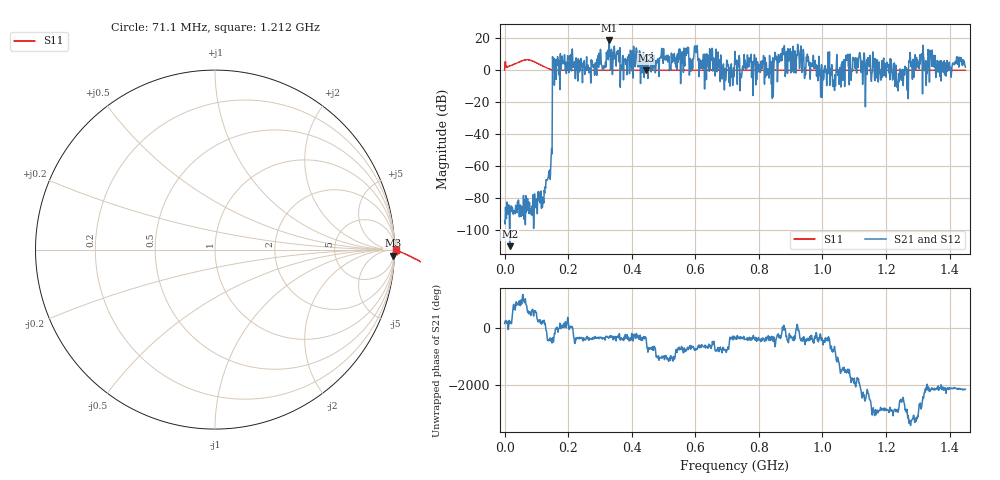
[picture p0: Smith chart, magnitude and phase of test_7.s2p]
! Created with skrf 1.11.0 (http://scikit-rf.org).
# Hz S RI R 50.0
!freq ReS11 ImS11 ReS21 ImS21 ReS12 ImS12 ReS22 ImS22
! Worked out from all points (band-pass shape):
!   1001 points, 50 kHz to 1.45 GHz, reference 50 ohm
!   highest |S21| = 18.67 dB at 329.2 MHz (marker M1); lowest = -110.0 dB at 16 MHz (marker M2)
!   |S21| within 3 dB of the highest: 328.6073 MHz to 329.6399 MHz (1.033 MHz wide, 0.314 % of centre); 922.0892 MHz to 922.6043 MHz (515.1 kHz wide, 0.0558 % of centre) (the widest 2 of 3)
!   lowest |S11| = -0.1 dB at 445.2 MHz (marker M3), VSWR 215.02, Z = 759 - j2.75e+03 ohm
!   |S11| at or under -10 dB: nowhere
!   |S22| runs from - to - dB; largest |S21 - S12| = 0
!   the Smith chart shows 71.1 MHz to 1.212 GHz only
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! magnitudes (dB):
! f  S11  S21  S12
! 50 kHz  0.2  -94.2  -94.2
! 16 MHz  2.7  -110.0  -110.0
! 118.9 MHz  2.8  -85.7  -85.7
! 142.1 MHz  0.7  -62.3  -62.3
! 158.1 MHz  0.1  -2.5  -2.5
! 242.2 MHz  0.1  4.1  4.1
! 329.2 MHz  0.0  18.7  18.7
! 445.2 MHz  -0.1  0.4  0.4
! 484.3 MHz  0.1  4.1  4.1
! 571.3 MHz  0.0  9.3  9.3
! 587.3 MHz  0.0  5.1  5.1
! 600.3 MHz  0.0  12.8  12.8
! 725 MHz  0.1  11.8  11.8
! 839.6 MHz  0.2  -8.7  -8.7
! 874.4 MHz  0.1  13.7  13.7
! 967.2 MHz  0.1  3.7  3.7
! 1.034 GHz  0.0  -10.2  -10.2
! 1.08 GHz  0.0  10.0  10.0
! 1.209 GHz  0.1  -1.6  -1.6
! 1.235 GHz  0.0  -10.7  -10.7
! 1.338 GHz  0.0  12.6  12.6
! 1.45 GHz  0.0  2.0  2.0
